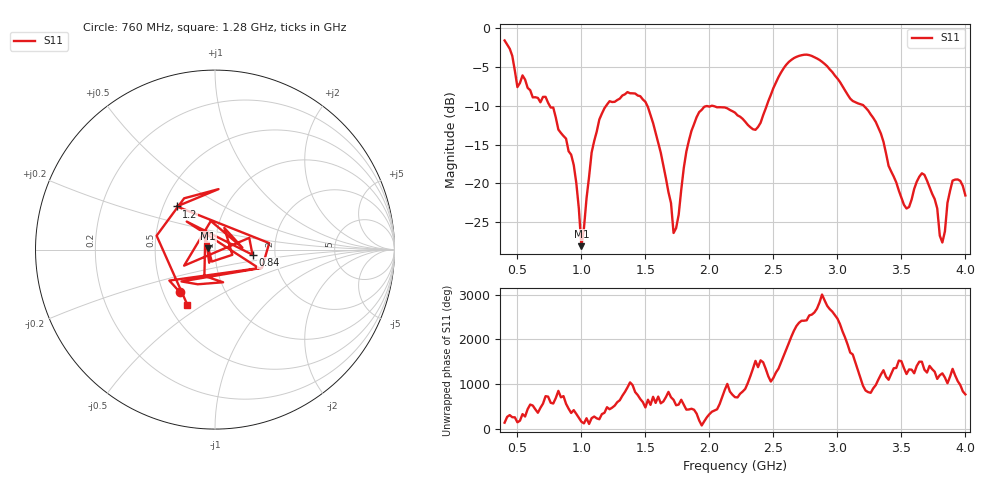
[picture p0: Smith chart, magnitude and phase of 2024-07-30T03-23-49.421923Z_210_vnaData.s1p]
!Created with skrf (http://scikit-rf.org).
# Hz S RI R 50.0
!freq ReS11 ImS11
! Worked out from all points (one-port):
!   181 points, 400 MHz to 4 GHz, reference 50 ohm
!   lowest |S11| = -28.1 dB at 1 GHz (marker M1), VSWR 1.08, Z = 46.3 + j0.69 ohm
!   |S11| at or under -10 dB: 751.9 MHz to 1.194 GHz (442.4 MHz wide, 45.5 % of centre); 1.514 GHz to 2.448 GHz (933.7 MHz wide, 47.1 % of centre); 3.204 GHz to end of sweep
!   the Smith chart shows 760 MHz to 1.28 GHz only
!   S11 on the Smith chart (normalised r, x): 760 MHz: 0.61, -0.32; 840 MHz: 1.53, -0.09; 1.2 GHz: 0.59, +0.31; 1.28 GHz: 0.62, -0.43
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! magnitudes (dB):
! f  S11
! 400 MHz  -1.6
! 500 MHz  -7.6
! 760 MHz  -10.2
! 840 MHz  -13.5
! 860 MHz  -13.9
! 940 MHz  -17.6
! 1 GHz  -28.1
! 1.08 GHz  -16.0
! 1.2 GHz  -9.9
! 1.28 GHz  -9.3
! 1.3 GHz  -9.1
! 1.5 GHz  -9.5
! 1.62 GHz  -16.0
! 1.72 GHz  -26.4
! 1.76 GHz  -24.0
! 1.82 GHz  -15.9
! 1.92 GHz  -10.8
! 2.2 GHz  -10.9
! 2.36 GHz  -13.1
! 2.66 GHz  -3.9
! 2.86 GHz  -4.1
! 3.1 GHz  -9.1
! 3.3 GHz  -12.1
! 3.56 GHz  -23.0
! 3.68 GHz  -18.9
! 3.82 GHz  -27.6
! 3.9 GHz  -19.6
! 4 GHz  -21.5
